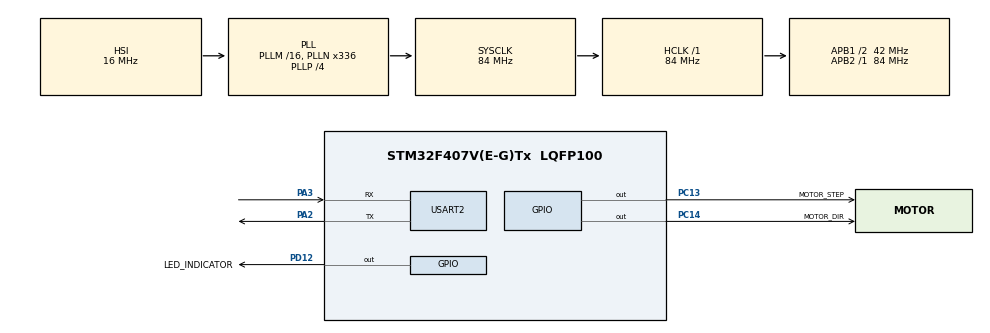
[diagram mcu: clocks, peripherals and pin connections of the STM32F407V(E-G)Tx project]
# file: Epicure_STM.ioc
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Mcu.Family=STM32F4
Mcu.Name=STM32F407V(E-G)Tx
Mcu.Package=LQFP100
NVIC.PriorityGroup=NVIC_PRIORITYGROUP_4
NVIC.RCC_IRQn=true\:0\:0\:false\:false\:true\:true\:false\:true
NVIC.USART2_IRQn=true\:0\:0\:false\:false\:true\:true\:true\:true
PA2.Mode=Asynchronous
PA2.Signal=USART2_TX
PA3.Mode=Asynchronous
PA3.Signal=USART2_RX
PC13-ANTI_TAMP.GPIO_Label=MOTOR_STEP
PC13-ANTI_TAMP.PinState=GPIO_PIN_RESET
PC13-ANTI_TAMP.Signal=GPIO_Output
PC14-OSC32_IN.GPIO_Label=MOTOR_DIR
PC14-OSC32_IN.PinState=GPIO_PIN_RESET
PC14-OSC32_IN.Signal=GPIO_Output
PD12.GPIO_Label=LED_INDICATOR
PD12.Signal=GPIO_Output
PH0-OSC_IN.Mode=HSE-External-Oscillator
PH0-OSC_IN.Signal=RCC_OSC_IN
PH1-OSC_OUT.Mode=HSE-External-Oscillator
PH1-OSC_OUT.Signal=RCC_OSC_OUT
ProjectManager.HeapSize=0x200
ProjectManager.StackSize=0x400
ProjectManager.TargetToolchain=STM32CubeIDE
RCC.48MHZClocksFreq_Value=84000000
RCC.AHBFreq_Value=84000000
RCC.APB1CLKDivider=RCC_HCLK_DIV2
RCC.APB1Freq_Value=42000000
RCC.APB1TimFreq_Value=84000000
RCC.APB2Freq_Value=84000000
RCC.APB2TimFreq_Value=84000000
RCC.CortexFreq_Value=84000000
RCC.HCLKFreq_Value=84000000
RCC.HSE_VALUE=8000000
RCC.HSI_VALUE=16000000
RCC.LSE_VALUE=32768
RCC.PLLN=336
RCC.PLLP=RCC_PLLP_DIV4
RCC.SYSCLKFreq_VALUE=84000000
RCC.SYSCLKSource=RCC_SYSCLKSOURCE_PLLCLK
RCC.VCOOutputFreq_Value=336000000
USART2.VirtualMode=VM_ASYNC
board=custom

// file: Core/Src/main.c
/* USER CODE BEGIN Header */
/**
  ******************************************************************************
  * @file           : main.c
  * @brief          : Main program body
  ******************************************************************************
  * @attention
  *
  * Copyright (c) 2025 STMicroelectronics.
  * All rights reserved.
  *
  * This software is licensed under terms that can be found in the LICENSE file
  * in the root directory of this software component.
  * If no LICENSE file comes with this software, it is provided AS-IS.
  *
  ******************************************************************************
  */
/* USER CODE END Header */
#include "main.h"
#include "usart.h"
#include "gpio.h"
#include <string.h>
#include <stdio.h>

/* USER CODE BEGIN PV */
/* Buffer for UART reception */
#define CMD_BUFFER_SIZE 256
static uint8_t cmd_buffer[CMD_BUFFER_SIZE];
static uint16_t cmd_index = 0;
static volatile uint8_t cmd_ready = 0;
/* USER CODE END PV */

void SystemClock_Config(void);
void parse_and_execute_command(const char* cmd);
void motor_control(uint16_t steps, uint8_t direction);
void led_control(uint8_t state);

int main(void)
{

  /* MCU Configuration--------------------------------------------------------*/

  /* Reset of all peripherals, Initializes the Flash interface and the Systick. */
  HAL_Init();

  /* Configure the system clock */
  SystemClock_Config();

  /* Initialize all configured peripherals */
  MX_GPIO_Init();
  MX_USART2_UART_Init();
  /* USER CODE BEGIN 2 */
  /* Start receiving first byte */
  HAL_UART_Receive_IT(&huart2, &cmd_buffer[0], 1);
  /* USER CODE END 2 */

  /* Infinite loop */
  while (1)
  {

    /* USER CODE BEGIN 3 */
    /* Process received command */
    if (cmd_ready) {
      parse_and_execute_command((const char*)cmd_buffer);
      cmd_index = 0;
      cmd_ready = 0;
      HAL_UART_Receive_IT(&huart2, &cmd_buffer[0], 1);
    }
  }
  /* USER CODE END 3 */
}

void SystemClock_Config(void)
{
  RCC_OscInitTypeDef RCC_OscInitStruct = {0};
  RCC_ClkInitTypeDef RCC_ClkInitStruct = {0};

  /** Configure the main internal regulator output voltage
  */
  __HAL_RCC_PWR_CLK_ENABLE();
  __HAL_PWR_VOLTAGESCALING_CONFIG(PWR_REGULATOR_VOLTAGE_SCALE1);

  /** Initializes the RCC Oscillators according to the specified parameters
  * in the RCC_OscInitTypeDef structure.
  */
  RCC_OscInitStruct.OscillatorType = RCC_OSCILLATORTYPE_HSI;
  RCC_OscInitStruct.HSIState = RCC_HSI_ON;
  RCC_OscInitStruct.HSICalibrationValue = RCC_HSICALIBRATION_DEFAULT;
  RCC_OscInitStruct.PLL.PLLState = RCC_PLL_ON;
  RCC_OscInitStruct.PLL.PLLSource = RCC_PLLSOURCE_HSI;
  RCC_OscInitStruct.PLL.PLLM = 16;
  RCC_OscInitStruct.PLL.PLLN = 336;
  RCC_OscInitStruct.PLL.PLLP = RCC_PLLP_DIV4;
  RCC_OscInitStruct.PLL.PLLQ = 4;
  if (HAL_RCC_OscConfig(&RCC_OscInitStruct) != HAL_OK)
  {
    Error_Handler();
  }

  /** Initializes the CPU, AHB and APB buses clocks
  */
  RCC_ClkInitStruct.ClockType = RCC_CLOCKTYPE_HCLK|RCC_CLOCKTYPE_SYSCLK
                              |RCC_CLOCKTYPE_PCLK1|RCC_CLOCKTYPE_PCLK2;
  RCC_ClkInitStruct.SYSCLKSource = RCC_SYSCLKSOURCE_PLLCLK;
  RCC_ClkInitStruct.AHBCLKDivider = RCC_SYSCLK_DIV1;
  RCC_ClkInitStruct.APB1CLKDivider = RCC_HCLK_DIV2;
  RCC_ClkInitStruct.APB2CLKDivider = RCC_HCLK_DIV1;

  if (HAL_RCC_ClockConfig(&RCC_ClkInitStruct, FLASH_LATENCY_2) != HAL_OK)
  {
    Error_Handler();
  }
}

/* USER CODE BEGIN 4 */

/* UART RxCplt callback - called when character received */
void HAL_UART_RxCpltCallback(UART_HandleTypeDef *huart)
{
  if (huart->Instance == USART2) {
    uint8_t byte = cmd_buffer[cmd_index];

    if (byte == '\n' || byte == '\r') {
      cmd_buffer[cmd_index] = '\0';
      cmd_ready = 1;
    } else if (cmd_index < CMD_BUFFER_SIZE - 1) {
      cmd_index++;
      HAL_UART_Receive_IT(&huart2, &cmd_buffer[cmd_index], 1);
    }
  }
}

/* Parse and execute received command */
void parse_and_execute_command(const char* cmd)
{
  if (strncmp(cmd, "motor:", 6) == 0) {
    uint16_t steps = 0;
    uint8_t direction = 0;
    int parsed = sscanf(cmd, "motor:%hu:%hhu", &steps, &direction);

    if (parsed == 2 && steps <= 10000 && direction <= 1) {
      motor_control(steps, direction);
    } else {
      HAL_UART_Transmit(&huart2, (uint8_t*)"[ERROR] Invalid motor parameters\r\n", 34, 100);
    }
  }
  else if (strncmp(cmd, "led:", 4) == 0) {
    if (strcmp(cmd, "led:on") == 0) {
      led_control(1);
    } else if (strcmp(cmd, "led:off") == 0) {
      led_control(0);
    } else {
      HAL_UART_Transmit(&huart2, (uint8_t*)"[ERROR] LED: use led:on or led:off\r\n", 36, 100);
    }
  }
  else if (strlen(cmd) > 0) {
    HAL_UART_Transmit(&huart2, (uint8_t*)"[ERROR] Unknown command\r\n", 25, 100);
  }
}

/* Motor control - set direction and step */
void motor_control(uint16_t steps, uint8_t direction)
{
  /* Set direction (1 = forward, 0 = backward) */
  if (direction) {
    HAL_GPIO_WritePin(MOTOR_DIR_GPIO_Port, MOTOR_DIR_Pin, GPIO_PIN_SET);
  } else {
    HAL_GPIO_WritePin(MOTOR_DIR_GPIO_Port, MOTOR_DIR_Pin, GPIO_PIN_RESET);
  }

  /* Generate step pulses */
  for (uint16_t i = 0; i < steps; i++) {
    HAL_GPIO_WritePin(MOTOR_STEP_GPIO_Port, MOTOR_STEP_Pin, GPIO_PIN_SET);
    HAL_Delay(1);
    HAL_GPIO_WritePin(MOTOR_STEP_GPIO_Port, MOTOR_STEP_Pin, GPIO_PIN_RESET);
    HAL_Delay(1);
  }

  HAL_UART_Transmit(&huart2, (uint8_t*)"[OK] Motor executed\r\n", 21, 100);
}

/* LED control - turn on/off */
void led_control(uint8_t state)
{
  if (state) {
    HAL_GPIO_WritePin(LED_INDICATOR_GPIO_Port, LED_INDICATOR_Pin, GPIO_PIN_SET);
  } else {
    HAL_GPIO_WritePin(LED_INDICATOR_GPIO_Port, LED_INDICATOR_Pin, GPIO_PIN_RESET);
  }
  HAL_UART_Transmit(&huart2, (uint8_t*)"[OK] LED updated\r\n", 17, 100);
}

/* USER CODE END 4 */

void Error_Handler(void)
{
  __disable_irq();
  while (1)
  {
  }
}
